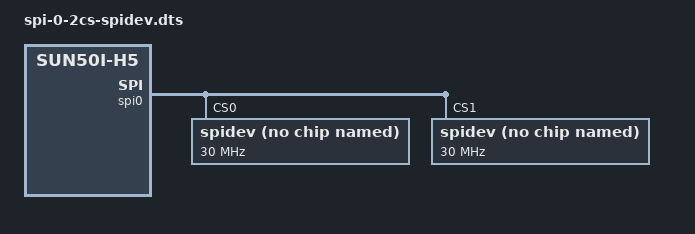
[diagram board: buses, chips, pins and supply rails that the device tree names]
// SPDX-License-Identifier: (GPL-2.0+ OR MIT)
/*
 * Copyright (c) 2023 Da Xue <da@libre.computer>
 * Author: Da Xue <da@libre.computer>
 */

/dts-v1/;
/plugin/;

/ {
	compatible = "allwinner,sun50i-h5";

	fragment@0 {
		target = <&spi0>;
		__overlay__ {
			#address-cells = <1>;
			#size-cells = <0>;
			spidev@0 {
				compatible = "spidev", "rohm,dh2228fv";
				reg = <0>;
				spi-max-frequency = <30000000>;
			};
			spidev@1 {
				compatible = "spidev", "rohm,dh2228fv";
				reg = <1>;
				spi-max-frequency = <30000000>;
			};
		};
	};
};
